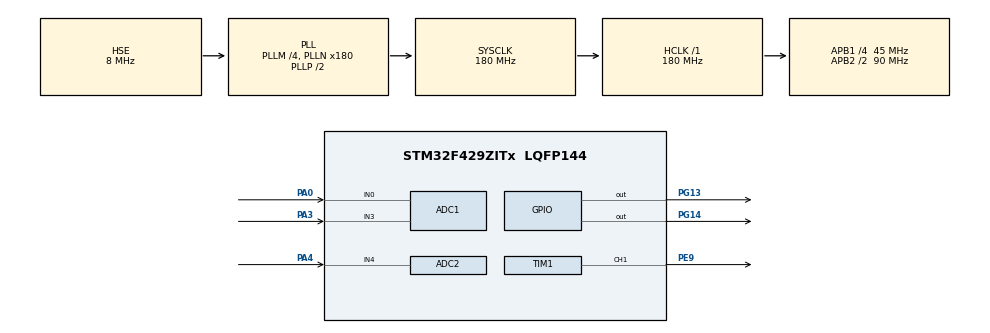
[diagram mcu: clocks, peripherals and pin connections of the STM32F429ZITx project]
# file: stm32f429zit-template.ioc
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ADC1.Channel-0\#ChannelRegularConversion=ADC_CHANNEL_0
ADC1.Channel-8\#ChannelRegularConversion=ADC_CHANNEL_3
ADC1.ContinuousConvMode=DISABLE
ADC1.DMAContinuousRequests=ENABLE
ADC1.EOCSelection=ADC_EOC_SINGLE_CONV
ADC1.ExternalTrigConv=ADC_EXTERNALTRIGCONV_T2_CC2
ADC1.ExternalTrigConvEdge=ADC_EXTERNALTRIGCONVEDGE_FALLING
ADC1.NbrOfConversion=2
ADC1.NbrOfConversionFlag=1
ADC1.Rank-0\#ChannelRegularConversion=1
ADC1.Rank-8\#ChannelRegularConversion=2
ADC1.SamplingTime-0\#ChannelRegularConversion=ADC_SAMPLETIME_15CYCLES
ADC1.SamplingTime-8\#ChannelRegularConversion=ADC_SAMPLETIME_15CYCLES
ADC1.master=1
ADC2.Channel-0\#ChannelRegularConversion=ADC_CHANNEL_4
ADC2.ContinuousConvMode=ENABLE
ADC2.DMAContinuousRequests=ENABLE
ADC2.NbrOfConversionFlag=1
ADC2.Rank-0\#ChannelRegularConversion=1
ADC2.SamplingTime-0\#ChannelRegularConversion=ADC_SAMPLETIME_15CYCLES
Dma.ADC1.0.Direction=DMA_PERIPH_TO_MEMORY
Dma.ADC1.0.FIFOMode=DMA_FIFOMODE_DISABLE
Dma.ADC1.0.Instance=DMA2_Stream0
Dma.ADC1.0.MemDataAlignment=DMA_MDATAALIGN_HALFWORD
Dma.ADC1.0.MemInc=DMA_MINC_ENABLE
Dma.ADC1.0.Mode=DMA_CIRCULAR
Dma.ADC1.0.PeriphDataAlignment=DMA_PDATAALIGN_HALFWORD
Dma.ADC1.0.PeriphInc=DMA_PINC_DISABLE
Dma.ADC1.0.Priority=DMA_PRIORITY_LOW
Dma.ADC2.1.Direction=DMA_PERIPH_TO_MEMORY
Dma.ADC2.1.FIFOMode=DMA_FIFOMODE_DISABLE
Dma.ADC2.1.Instance=DMA2_Stream2
Dma.ADC2.1.MemDataAlignment=DMA_MDATAALIGN_HALFWORD
Dma.ADC2.1.MemInc=DMA_MINC_ENABLE
Dma.ADC2.1.Mode=DMA_CIRCULAR
Dma.ADC2.1.PeriphDataAlignment=DMA_PDATAALIGN_HALFWORD
Dma.ADC2.1.PeriphInc=DMA_PINC_DISABLE
Dma.ADC2.1.Priority=DMA_PRIORITY_LOW
Dma.Request0=ADC1
Dma.Request1=ADC2
Mcu.Family=STM32F4
Mcu.Name=STM32F429ZITx
Mcu.Package=LQFP144
NVIC.ADC_IRQn=true\:0\:0\:false\:false\:true\:true\:true\:true
NVIC.DMA2_Stream0_IRQn=true\:0\:0\:false\:false\:true\:false\:true\:true
NVIC.DMA2_Stream2_IRQn=true\:0\:0\:false\:false\:true\:false\:true\:true
NVIC.PriorityGroup=NVIC_PRIORITYGROUP_4
NVIC.TIM2_IRQn=true\:0\:0\:false\:false\:true\:true\:true\:true
NVIC.TIM7_IRQn=true\:0\:0\:false\:false\:true\:true\:true\:true
PA0/WKUP.Signal=ADCx_IN0
PA13.Mode=Serial_Wire
PA13.Signal=SYS_JTMS-SWDIO
PA14.Mode=Serial_Wire
PA14.Signal=SYS_JTCK-SWCLK
PA3.Signal=ADCx_IN3
PA4.Signal=ADCx_IN4
PE9.Signal=S_TIM1_CH1
PG13.Signal=GPIO_Output
PG14.Signal=GPIO_Output
PH0/OSC_IN.Mode=HSE-External-Oscillator
PH0/OSC_IN.Signal=RCC_OSC_IN
PH1/OSC_OUT.Mode=HSE-External-Oscillator
PH1/OSC_OUT.Signal=RCC_OSC_OUT
ProjectManager.HeapSize=0x200
ProjectManager.StackSize=0x400
ProjectManager.TargetToolchain=STM32CubeIDE
RCC.48MHZClocksFreq_Value=90000000
RCC.AHBFreq_Value=180000000
RCC.APB1CLKDivider=RCC_HCLK_DIV4
RCC.APB1Freq_Value=45000000
RCC.APB1TimFreq_Value=90000000
RCC.APB2CLKDivider=RCC_HCLK_DIV2
RCC.APB2Freq_Value=90000000
RCC.APB2TimFreq_Value=180000000
RCC.CortexFreq_Value=180000000
RCC.HCLKFreq_Value=180000000
RCC.HSE_VALUE=8000000
RCC.HSI_VALUE=16000000
RCC.LSE_VALUE=32768
RCC.PLLM=4
RCC.PLLN=180
RCC.PLLSourceVirtual=RCC_PLLSOURCE_HSE
RCC.SYSCLKFreq_VALUE=180000000
RCC.SYSCLKSource=RCC_SYSCLKSOURCE_PLLCLK
RCC.VCOOutputFreq_Value=360000000
SH.ADCx_IN0.0=ADC1_IN0,IN0
SH.ADCx_IN3.0=ADC1_IN3,IN3
SH.ADCx_IN4.0=ADC2_IN4,IN4
SH.S_TIM1_CH1.0=TIM1_CH1,PWM Generation1 CH1
TIM1.Channel-PWM\ Generation1\ CH1=TIM_CHANNEL_1
TIM1.CounterMode=TIM_COUNTERMODE_CENTERALIGNED1
TIM1.TIM_MasterOutputTrigger=TIM_TRGO_UPDATE
TIM1.TIM_MasterSlaveMode=TIM_MASTERSLAVEMODE_ENABLE
TIM2.Channel-PWM\ Generation2\ No\ Output=TIM_CHANNEL_2
TIM7.Period=10000-1
TIM7.Prescaler=8000-1
VP_TIM2_VS_ClockSourceITR.Mode=TriggerSource_ITR0
VP_TIM2_VS_ControllerModeReset.Mode=Reset Mode
VP_TIM2_VS_no_output2.Mode=PWM Generation2 No Output
VP_TIM7_VS_ClockSourceINT.Mode=Enable_Timer
board=custom

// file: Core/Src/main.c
/* USER CODE BEGIN Header */
/**
  ******************************************************************************
  * @file           : main.c
  * @brief          : Main program body
  ******************************************************************************
  * @attention
  *
  * Copyright (c) 2024 STMicroelectronics.
  * All rights reserved.
  *
  * This software is licensed under terms that can be found in the LICENSE file
  * in the root directory of this software component.
  * If no LICENSE file comes with this software, it is provided AS-IS.
  *
  ******************************************************************************
  */
/* USER CODE END Header */
#include "main.h"

ADC_HandleTypeDef hadc1;
ADC_HandleTypeDef hadc2;
DMA_HandleTypeDef hdma_adc1;
DMA_HandleTypeDef hdma_adc2;

TIM_HandleTypeDef htim1;
TIM_HandleTypeDef htim2;
TIM_HandleTypeDef htim7;

/* USER CODE BEGIN PV */
uint16_t adc1_values[2] = {0};
uint16_t adc2_value = 0;
uint16_t adc_sample_flag = 0;
/* USER CODE END PV */

void SystemClock_Config(void);
static void MX_GPIO_Init(void);
static void MX_DMA_Init(void);
static void MX_TIM7_Init(void);
static void MX_TIM1_Init(void);
static void MX_ADC1_Init(void);
static void MX_ADC2_Init(void);
static void MX_TIM2_Init(void);

int main(void)
{

  /* MCU Configuration--------------------------------------------------------*/

  /* Reset of all peripherals, Initializes the Flash interface and the Systick. */
  HAL_Init();

  /* Configure the system clock */
  SystemClock_Config();

  /* Initialize all configured peripherals */
  MX_GPIO_Init();
  MX_DMA_Init();
  MX_TIM7_Init();
  MX_TIM1_Init();
  MX_ADC1_Init();
  MX_ADC2_Init();
  MX_TIM2_Init();
  /* USER CODE BEGIN 2 */
  HAL_TIM_Base_Start_IT(&htim7);

  HAL_ADC_Start_DMA(&hadc1, (uint32_t*)adc1_values, 2);
  HAL_ADC_Start_DMA(&hadc2, (uint32_t*)&adc2_value, 1);

  TIM2->PSC = 8000 - 1;
  TIM2->CCR2 = 0xf;
  HAL_TIM_PWM_Start_IT(&htim2, TIM_CHANNEL_2);

  TIM1->PSC = 16000 - 1; // 10 KHz
  TIM1->ARR = 10000 - 1; // 1 Hz
  TIM1->CCR1 = (uint16_t)(0.25f * (float)TIM1->ARR);
  HAL_TIM_PWM_Start(&htim1, TIM_CHANNEL_1);
  /* USER CODE END 2 */

  /* Infinite loop */
  while (1)
  {

  }
}

void SystemClock_Config(void)
{
  RCC_OscInitTypeDef RCC_OscInitStruct = {0};
  RCC_ClkInitTypeDef RCC_ClkInitStruct = {0};

  /** Configure the main internal regulator output voltage
  */
  __HAL_RCC_PWR_CLK_ENABLE();
  __HAL_PWR_VOLTAGESCALING_CONFIG(PWR_REGULATOR_VOLTAGE_SCALE1);

  /** Initializes the RCC Oscillators according to the specified parameters
  * in the RCC_OscInitTypeDef structure.
  */
  RCC_OscInitStruct.OscillatorType = RCC_OSCILLATORTYPE_HSE;
  RCC_OscInitStruct.HSEState = RCC_HSE_ON;
  RCC_OscInitStruct.PLL.PLLState = RCC_PLL_ON;
  RCC_OscInitStruct.PLL.PLLSource = RCC_PLLSOURCE_HSE;
  RCC_OscInitStruct.PLL.PLLM = 4;
  RCC_OscInitStruct.PLL.PLLN = 180;
  RCC_OscInitStruct.PLL.PLLP = RCC_PLLP_DIV2;
  RCC_OscInitStruct.PLL.PLLQ = 4;
  if (HAL_RCC_OscConfig(&RCC_OscInitStruct) != HAL_OK)
  {
    Error_Handler();
  }

  /** Activate the Over-Drive mode
  */
  if (HAL_PWREx_EnableOverDrive() != HAL_OK)
  {
    Error_Handler();
  }

  /** Initializes the CPU, AHB and APB buses clocks
  */
  RCC_ClkInitStruct.ClockType = RCC_CLOCKTYPE_HCLK|RCC_CLOCKTYPE_SYSCLK
                              |RCC_CLOCKTYPE_PCLK1|RCC_CLOCKTYPE_PCLK2;
  RCC_ClkInitStruct.SYSCLKSource = RCC_SYSCLKSOURCE_PLLCLK;
  RCC_ClkInitStruct.AHBCLKDivider = RCC_SYSCLK_DIV1;
  RCC_ClkInitStruct.APB1CLKDivider = RCC_HCLK_DIV4;
  RCC_ClkInitStruct.APB2CLKDivider = RCC_HCLK_DIV2;

  if (HAL_RCC_ClockConfig(&RCC_ClkInitStruct, FLASH_LATENCY_5) != HAL_OK)
  {
    Error_Handler();
  }
}

static void MX_ADC1_Init(void)
{

  ADC_ChannelConfTypeDef sConfig = {0};

  /** Configure the global features of the ADC (Clock, Resolution, Data Alignment and number of conversion)
  */
  hadc1.Instance = ADC1;
  hadc1.Init.ClockPrescaler = ADC_CLOCK_SYNC_PCLK_DIV4;
  hadc1.Init.Resolution = ADC_RESOLUTION_12B;
  hadc1.Init.ScanConvMode = ENABLE;
  hadc1.Init.ContinuousConvMode = DISABLE;
  hadc1.Init.DiscontinuousConvMode = DISABLE;
  hadc1.Init.ExternalTrigConvEdge = ADC_EXTERNALTRIGCONVEDGE_FALLING;
  hadc1.Init.ExternalTrigConv = ADC_EXTERNALTRIGCONV_T2_CC2;
  hadc1.Init.DataAlign = ADC_DATAALIGN_RIGHT;
  hadc1.Init.NbrOfConversion = 2;
  hadc1.Init.DMAContinuousRequests = ENABLE;
  hadc1.Init.EOCSelection = ADC_EOC_SINGLE_CONV;
  if (HAL_ADC_Init(&hadc1) != HAL_OK)
  {
    Error_Handler();
  }

  /** Configure for the selected ADC regular channel its corresponding rank in the sequencer and its sample time.
  */
  sConfig.Channel = ADC_CHANNEL_0;
  sConfig.Rank = 1;
  sConfig.SamplingTime = ADC_SAMPLETIME_15CYCLES;
  if (HAL_ADC_ConfigChannel(&hadc1, &sConfig) != HAL_OK)
  {
    Error_Handler();
  }

  /** Configure for the selected ADC regular channel its corresponding rank in the sequencer and its sample time.
  */
  sConfig.Channel = ADC_CHANNEL_3;
  sConfig.Rank = 2;
  if (HAL_ADC_ConfigChannel(&hadc1, &sConfig) != HAL_OK)
  {
    Error_Handler();
  }

}

static void MX_ADC2_Init(void)
{

  ADC_ChannelConfTypeDef sConfig = {0};

  /** Configure the global features of the ADC (Clock, Resolution, Data Alignment and number of conversion)
  */
  hadc2.Instance = ADC2;
  hadc2.Init.ClockPrescaler = ADC_CLOCK_SYNC_PCLK_DIV4;
  hadc2.Init.Resolution = ADC_RESOLUTION_12B;
  hadc2.Init.ScanConvMode = DISABLE;
  hadc2.Init.ContinuousConvMode = ENABLE;
  hadc2.Init.DiscontinuousConvMode = DISABLE;
  hadc2.Init.ExternalTrigConvEdge = ADC_EXTERNALTRIGCONVEDGE_NONE;
  hadc2.Init.ExternalTrigConv = ADC_SOFTWARE_START;
  hadc2.Init.DataAlign = ADC_DATAALIGN_RIGHT;
  hadc2.Init.NbrOfConversion = 1;
  hadc2.Init.DMAContinuousRequests = ENABLE;
  hadc2.Init.EOCSelection = ADC_EOC_SINGLE_CONV;
  if (HAL_ADC_Init(&hadc2) != HAL_OK)
  {
    Error_Handler();
  }

  /** Configure for the selected ADC regular channel its corresponding rank in the sequencer and its sample time.
  */
  sConfig.Channel = ADC_CHANNEL_4;
  sConfig.Rank = 1;
  sConfig.SamplingTime = ADC_SAMPLETIME_15CYCLES;
  if (HAL_ADC_ConfigChannel(&hadc2, &sConfig) != HAL_OK)
  {
    Error_Handler();
  }

}

static void MX_TIM1_Init(void)
{

  TIM_MasterConfigTypeDef sMasterConfig = {0};
  TIM_OC_InitTypeDef sConfigOC = {0};
  TIM_BreakDeadTimeConfigTypeDef sBreakDeadTimeConfig = {0};

  htim1.Instance = TIM1;
  htim1.Init.Prescaler = 0;
  htim1.Init.CounterMode = TIM_COUNTERMODE_CENTERALIGNED1;
  htim1.Init.Period = 65535;
  htim1.Init.ClockDivision = TIM_CLOCKDIVISION_DIV1;
  htim1.Init.RepetitionCounter = 0;
  htim1.Init.AutoReloadPreload = TIM_AUTORELOAD_PRELOAD_DISABLE;
  if (HAL_TIM_PWM_Init(&htim1) != HAL_OK)
  {
    Error_Handler();
  }
  sMasterConfig.MasterOutputTrigger = TIM_TRGO_UPDATE;
  sMasterConfig.MasterSlaveMode = TIM_MASTERSLAVEMODE_ENABLE;
  if (HAL_TIMEx_MasterConfigSynchronization(&htim1, &sMasterConfig) != HAL_OK)
  {
    Error_Handler();
  }
  sConfigOC.OCMode = TIM_OCMODE_PWM1;
  sConfigOC.Pulse = 0;
  sConfigOC.OCPolarity = TIM_OCPOLARITY_HIGH;
  sConfigOC.OCNPolarity = TIM_OCNPOLARITY_HIGH;
  sConfigOC.OCFastMode = TIM_OCFAST_DISABLE;
  sConfigOC.OCIdleState = TIM_OCIDLESTATE_RESET;
  sConfigOC.OCNIdleState = TIM_OCNIDLESTATE_RESET;
  if (HAL_TIM_PWM_ConfigChannel(&htim1, &sConfigOC, TIM_CHANNEL_1) != HAL_OK)
  {
    Error_Handler();
  }
  sBreakDeadTimeConfig.OffStateRunMode = TIM_OSSR_DISABLE;
  sBreakDeadTimeConfig.OffStateIDLEMode = TIM_OSSI_DISABLE;
  sBreakDeadTimeConfig.LockLevel = TIM_LOCKLEVEL_OFF;
  sBreakDeadTimeConfig.DeadTime = 0;
  sBreakDeadTimeConfig.BreakState = TIM_BREAK_DISABLE;
  sBreakDeadTimeConfig.BreakPolarity = TIM_BREAKPOLARITY_HIGH;
  sBreakDeadTimeConfig.AutomaticOutput = TIM_AUTOMATICOUTPUT_DISABLE;
  if (HAL_TIMEx_ConfigBreakDeadTime(&htim1, &sBreakDeadTimeConfig) != HAL_OK)
  {
    Error_Handler();
  }
  HAL_TIM_MspPostInit(&htim1);

}

static void MX_TIM2_Init(void)
{

  TIM_SlaveConfigTypeDef sSlaveConfig = {0};
  TIM_MasterConfigTypeDef sMasterConfig = {0};
  TIM_OC_InitTypeDef sConfigOC = {0};

  htim2.Instance = TIM2;
  htim2.Init.Prescaler = 0;
  htim2.Init.CounterMode = TIM_COUNTERMODE_UP;
  htim2.Init.Period = 4294967295;
  htim2.Init.ClockDivision = TIM_CLOCKDIVISION_DIV1;
  htim2.Init.AutoReloadPreload = TIM_AUTORELOAD_PRELOAD_DISABLE;
  if (HAL_TIM_Base_Init(&htim2) != HAL_OK)
  {
    Error_Handler();
  }
  if (HAL_TIM_PWM_Init(&htim2) != HAL_OK)
  {
    Error_Handler();
  }
  sSlaveConfig.SlaveMode = TIM_SLAVEMODE_RESET;
  sSlaveConfig.InputTrigger = TIM_TS_ITR0;
  if (HAL_TIM_SlaveConfigSynchro(&htim2, &sSlaveConfig) != HAL_OK)
  {
    Error_Handler();
  }
  sMasterConfig.MasterOutputTrigger = TIM_TRGO_RESET;
  sMasterConfig.MasterSlaveMode = TIM_MASTERSLAVEMODE_DISABLE;
  if (HAL_TIMEx_MasterConfigSynchronization(&htim2, &sMasterConfig) != HAL_OK)
  {
    Error_Handler();
  }
  sConfigOC.OCMode = TIM_OCMODE_PWM1;
  sConfigOC.Pulse = 0;
  sConfigOC.OCPolarity = TIM_OCPOLARITY_HIGH;
  sConfigOC.OCFastMode = TIM_OCFAST_DISABLE;
  if (HAL_TIM_PWM_ConfigChannel(&htim2, &sConfigOC, TIM_CHANNEL_2) != HAL_OK)
  {
    Error_Handler();
  }

}

static void MX_TIM7_Init(void)
{

  TIM_MasterConfigTypeDef sMasterConfig = {0};

  htim7.Instance = TIM7;
  htim7.Init.Prescaler = 8000-1;
  htim7.Init.CounterMode = TIM_COUNTERMODE_UP;
  htim7.Init.Period = 10000-1;
  htim7.Init.AutoReloadPreload = TIM_AUTORELOAD_PRELOAD_DISABLE;
  if (HAL_TIM_Base_Init(&htim7) != HAL_OK)
  {
    Error_Handler();
  }
  sMasterConfig.MasterOutputTrigger = TIM_TRGO_RESET;
  sMasterConfig.MasterSlaveMode = TIM_MASTERSLAVEMODE_DISABLE;
  if (HAL_TIMEx_MasterConfigSynchronization(&htim7, &sMasterConfig) != HAL_OK)
  {
    Error_Handler();
  }

}

static void MX_DMA_Init(void)
{

  /* DMA controller clock enable */
  __HAL_RCC_DMA2_CLK_ENABLE();

  /* DMA interrupt init */
  /* DMA2_Stream0_IRQn interrupt configuration */
  HAL_NVIC_SetPriority(DMA2_Stream0_IRQn, 0, 0);
  HAL_NVIC_EnableIRQ(DMA2_Stream0_IRQn);
  /* DMA2_Stream2_IRQn interrupt configuration */
  HAL_NVIC_SetPriority(DMA2_Stream2_IRQn, 0, 0);
  HAL_NVIC_EnableIRQ(DMA2_Stream2_IRQn);

}

static void MX_GPIO_Init(void)
{
  GPIO_InitTypeDef GPIO_InitStruct = {0};

  /* GPIO Ports Clock Enable */
  __HAL_RCC_GPIOH_CLK_ENABLE();
  __HAL_RCC_GPIOA_CLK_ENABLE();
  __HAL_RCC_GPIOE_CLK_ENABLE();
  __HAL_RCC_GPIOG_CLK_ENABLE();

  /*Configure GPIO pin Output Level */
  HAL_GPIO_WritePin(GPIOG, GPIO_PIN_13|GPIO_PIN_14, GPIO_PIN_RESET);

  /*Configure GPIO pins : PG13 PG14 */
  GPIO_InitStruct.Pin = GPIO_PIN_13|GPIO_PIN_14;
  GPIO_InitStruct.Mode = GPIO_MODE_OUTPUT_PP;
  GPIO_InitStruct.Pull = GPIO_NOPULL;
  GPIO_InitStruct.Speed = GPIO_SPEED_FREQ_LOW;
  HAL_GPIO_Init(GPIOG, &GPIO_InitStruct);

}

/* USER CODE BEGIN 4 */
void HAL_TIM_PeriodElapsedCallback(TIM_HandleTypeDef *htim)
{
  // Этот обратный вызов автоматически вызывается HAL при возникновении события UEV
  // Передача управления HAL, который обрабатывает IRQ
  if (htim == &htim7) {
    HAL_GPIO_TogglePin(GPIOG, GPIO_PIN_13);
  }
}

void HAL_ADC_ConvCpltCallback(ADC_HandleTypeDef *hadc) {

	if (hadc == &hadc1) {
		if (!(TIM1->CR1 & TIM_CR1_DIR)) {
			adc_sample_flag = (adc_sample_flag == 0) ? (0xfff + 0xff) : 0;
		}
	} else if (hadc == &hadc2) {

	}
}
/* USER CODE END 4 */

void Error_Handler(void)
{
  __disable_irq();
  while (1)
  {
  }
}
